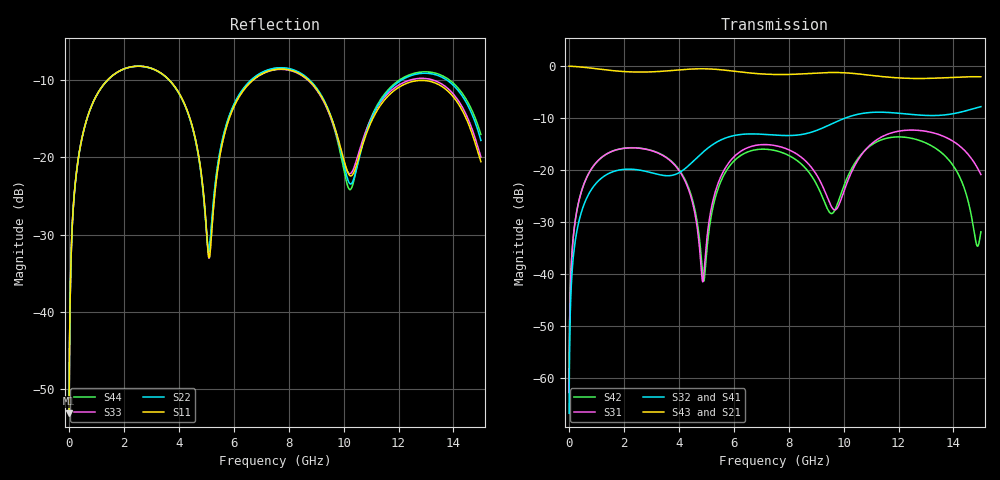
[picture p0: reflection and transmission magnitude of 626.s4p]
! Created with skrf 1.8.0 (http://scikit-rf.org).
# GHz S RI R 50.0
!freq ReS11 ImS11 ReS12 ImS12 ReS13 ImS13
! ReS14 ImS14
! ReS21 ImS21 ReS22 ImS22 ReS23 ImS23
! ReS24 ImS24
! ReS31 ImS31 ReS32 ImS32 ReS33 ImS33
! ReS34 ImS34
! ReS41 ImS41 ReS42 ImS42 ReS43 ImS43
! ReS44 ImS44
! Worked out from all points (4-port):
!   2499 points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, 5 MHz to 15 GHz, reference 50 ohm
!   strongest paths, dB at 5 MHz, 3.476 GHz, 7.19 GHz, 11.1 GHz, 15 GHz:
!     S43: 0.0, -1.0, -1.6, -1.8, -2.1
!     S21: 0.0, -1.0, -1.6, -1.8, -2.1
!     S32: -66.9, -21.1, -13.2, -8.9, -7.8
!     S41: -66.9, -21.1, -13.2, -8.9, -7.8
!     S31: -62.9, -17.4, -15.1, -14.6, -20.9
!     S42: -62.9, -17.3, -16.0, -14.9, -31.9
!   lowest |S11| = -53.1 dB at 5 MHz (marker M1), VSWR 1.00, Z = 50.2 + j0.134 ohm
!   |S11| at or under -10 dB: start of sweep to 1.398 GHz; 3.66 GHz to 6.689 GHz (3.029 GHz wide, 58.5 % of centre); 8.73 GHz to end of sweep
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0.005  0.00176 0.00133  0.9982 -0.00342  8.92e-05 0.000714  -8.65e-05 -0.000445
       0.9982 -0.00342  0.00176 0.00133  -8.65e-05 -0.000445  8.92e-05 0.000714
       8.92e-05 0.000714  -8.65e-05 -0.000445  0.00176 0.00133  0.9982 -0.00342
       -8.65e-05 -0.000445  8.92e-05 0.000714  0.9982 -0.00342  0.00176 0.00133
0.3626511  0.034 0.099  0.953 -0.2436  0.0166 0.0477  -0.0137 -0.029
           0.953 -0.2436  0.034 0.099  -0.0137 -0.029  0.0167 0.0477
           0.0166 0.0477  -0.0137 -0.029  0.034 0.099  0.953 -0.2436
           -0.0137 -0.029  0.0167 0.0477  0.953 -0.2436  0.034 0.099
1.725719  0.3216 0.1467  0.4212 -0.7924  0.1496 0.0446  -0.0971 0.0162
          0.4212 -0.7924  0.3215 0.1467  -0.0971 0.0162  0.1502 0.0433
          0.1496 0.0446  -0.0971 0.0162  0.3216 0.1467  0.4212 -0.7924
          -0.0971 0.0162  0.1502 0.0433  0.4212 -0.7924  0.3214 0.1467
4.870779  0.0306 -0.058  -0.9179 -0.2122  0.00834 -0.000732  -0.0285 0.1448
          -0.9179 -0.2122  0.0323 -0.0548  -0.0285 0.1448  -0.00865 -0.0046
          0.00834 -0.000732  -0.0285 0.1448  0.0303 -0.0574  -0.9179 -0.2122
          -0.0285 0.1448  -0.00865 -0.0046  -0.9179 -0.2122  0.0322 -0.0543
7.815757  0.3734 -0.0073  -0.0463 0.8274  0.132 -0.0965  0.2091 -0.0473
          -0.0463 0.8274  0.3805 -0.0175  0.2093 -0.0476  0.1275 -0.0693
          0.132 -0.0965  0.2093 -0.0476  0.3718 -0.00578  -0.047 0.828
          0.2091 -0.0473  0.1275 -0.0693  -0.047 0.828  0.379 -0.0183
10.59817  0.0934 0.0509  0.8359 -0.0578  0.0581 0.1203  -0.0449 -0.3445
          0.8359 -0.0578  0.0875 0.0574  -0.0456 -0.3438  0.0424 0.13
          0.0581 0.1203  -0.0456 -0.3438  0.0986 0.0578  0.8352 -0.0588
          -0.0449 -0.3445  0.0424 0.13  0.8352 -0.0588  0.0839 0.0654
15  0.0878 -0.0334  -0.6921 -0.3801  -0.0688 -0.0585  -0.1873 0.3605
    -0.6921 -0.3801  0.0787 -0.1021  -0.1879 0.3609  0.0214 0.0136
    -0.0688 -0.0585  -0.1879 0.3609  0.0902 -0.0451  -0.6872 -0.3868
    -0.1873 0.3605  0.0214 0.0136  -0.6872 -0.3868  0.0893 -0.109
